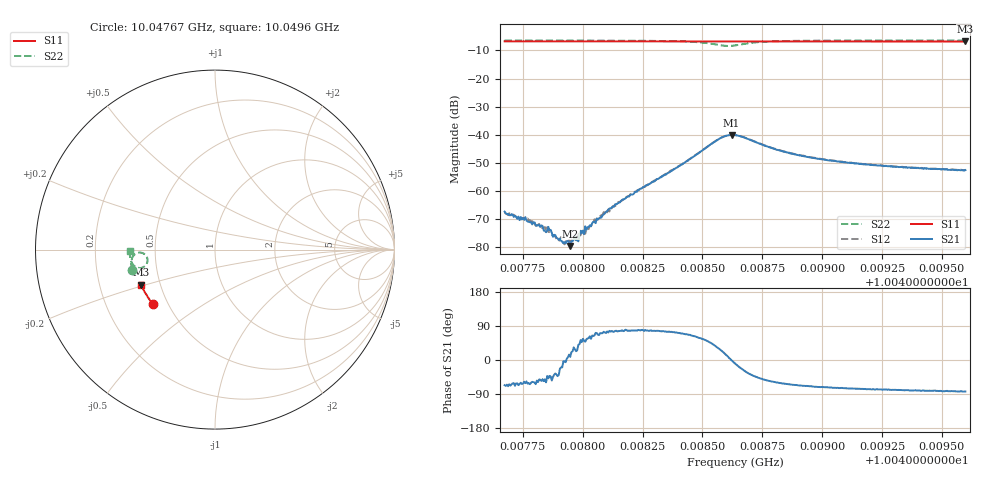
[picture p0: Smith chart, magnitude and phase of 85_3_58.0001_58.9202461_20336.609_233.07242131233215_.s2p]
#  HZ  S  RI  R  50.00
! Rohde & Schwarz Vector Network Analyzer
! Rohde-Schwarz,ZNB20-2Port,1311601062101988,3.16
! Created: UTC 3/21/2024, 12:54:04 AM
! freq[Hz]  re:S11  im:S11  re:S21  im:S21  re:S12  im:S12  re:S22  im:S22
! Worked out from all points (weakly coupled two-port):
!   401 points, 10.04767 GHz to 10.0496 GHz, reference 50 ohm
!   highest |S21| = -40.04 dB at 10.04862 GHz (marker M1); lowest = -79.6 dB at 10.04795 GHz (marker M2)
!   lowest |S11| = -6.8 dB at 10.0496 GHz (marker M3), VSWR 2.68, Z = 19.5 - j9.58 ohm
!   |S11| at or under -10 dB: nowhere
!   |S22| runs from -8.4 to -6.4 dB; largest |S21 - S12| = 0.00068
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1.0047674e10  -0.3461 -0.303  0.000171 -0.000393  0.000205 -0.000356  -0.4621 -0.1148
1.0047751e10  -0.3493 -0.299  0.000157 -0.000292  0.000152 -0.00029  -0.4632 -0.1089
1.004778e10  -0.3505 -0.2975  0.000123 -0.00025  0.000179 -0.000243  -0.4636 -0.107
1.0047823e10  -0.3523 -0.2951  0.000141 -0.00018  0.000144 -0.000177  -0.4642 -0.1034
1.0047842e10  -0.3531 -0.2941  0.000123 -0.000152  0.000163 -0.00016  -0.4644 -0.1019
1.0047862e10  -0.354 -0.2931  0.000149 -0.000134  0.000137 -0.000125  -0.4645 -0.1003
1.0047895e10  -0.3553 -0.2913  0.000106 -9.7e-05  0.000125 -3.77e-05  -0.465 -0.0975
1.0047919e10  -0.3563 -0.29  0.000118 -7.35e-06  0.00011 -4.77e-05  -0.4653 -0.0957
1.0047948e10  -0.3574 -0.2886  0.000104 1.52e-05  0.000102 2.4e-05  -0.4655 -0.0932
1.0047958e10  -0.3578 -0.2879  0.000117 4.99e-05  0.000126 4.32e-05  -0.4655 -0.0925
1.0047972e10  -0.3584 -0.2873  0.000123 5.24e-05  0.000117 8.53e-05  -0.4657 -0.0913
1.0047996e10  -0.3593 -0.286  0.000121 0.00013  0.000137 0.000137  -0.4661 -0.0892
1.0048088e10  -0.3629 -0.281  0.000102 0.000369  0.000111 0.000403  -0.4665 -0.0808
1.0048174e10  -0.3664 -0.2764  0.000156 0.000703  0.000121 0.000707  -0.4666 -0.0721
1.0048319e10  -0.3717 -0.2684  0.000387 0.00163  0.000305 0.00167  -0.464 -0.0542
1.0048564e10  -0.3801 -0.2544  0.00688 0.00439  0.00664 0.00484  -0.3989 -0.0214
1.0048622e10  -0.3817 -0.2516  0.00995 -0.000116  0.00996 0.000545  -0.3764 -0.0655
1.0048636e10  -0.3821 -0.2509  0.00975 -0.00159  0.00988 -0.000949  -0.3804 -0.0784
1.0048814e10  -0.3888 -0.2412  0.00271 -0.00465  0.00305 -0.00453  -0.4542 -0.0868
1.0048958e10  -0.3937 -0.233  0.00133 -0.00365  0.00155 -0.00364  -0.4668 -0.0659
1.0049281e10  -0.4039 -0.2141  0.000554 -0.00271  0.000714 -0.00268  -0.4735 -0.034
1.0049598e10  -0.4127 -0.1949  0.000285 -0.00234  0.000406 -0.00231  -0.4751 -0.00916
